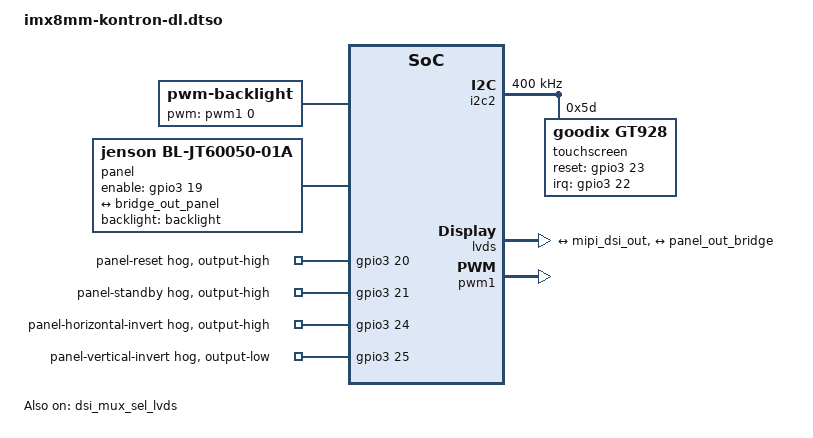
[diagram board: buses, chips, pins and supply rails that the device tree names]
// SPDX-License-Identifier: GPL-2.0
/*
 * Copyright (C) 2024 Kontron Electronics GmbH
 */

/dts-v1/;
/plugin/;

#include <dt-bindings/gpio/gpio.h>
#include "imx8mm-pinfunc.h"

&{/} {
	compatible = "kontron,imx8mm-bl", "kontron,imx8mm-sl", "fsl,imx8mm";

	backlight: backlight {
		compatible = "pwm-backlight";
		pwms = <&pwm1 0 50000 0>;
		brightness-levels = <0 100>;
		num-interpolated-steps = <100>;
		default-brightness-level = <100>;
	};

	panel {
		compatible = "jenson,bl-jt60050-01a", "panel-lvds";
		pinctrl-names = "default";
		pinctrl-0 = <&pinctrl_panel>;
		backlight = <&backlight>;
		data-mapping = "vesa-24";
		enable-gpios = <&gpio3 19 GPIO_ACTIVE_HIGH>;
		height-mm = <86>;
		width-mm = <154>;

		panel-timing {
			clock-frequency = <51200000>;
			hactive = <1024>;
			vactive = <600>;
			hsync-len = <1>;
			hfront-porch = <160>;
			hback-porch = <160>;
			vsync-len = <1>;
			vfront-porch = <12>;
			vback-porch = <23>;
		};

		port {
			panel_out_bridge: endpoint {
				remote-endpoint = <&bridge_out_panel>;
			};
		};
	};
};

&dsi_mux_sel_hdmi {
	status = "disabled";
};

&dsi_mux_sel_lvds {
	status = "okay";
};

&mipi_dsi_out {
	remote-endpoint = <&bridge_in_dsi_lvds>;
};

&gpio3 {
	pinctrl-names = "default";
	pinctrl-0 = <&pinctrl_gpio3>;

	panel-rst-hog {
		gpio-hog;
		gpios = <20 GPIO_ACTIVE_HIGH>;
		output-high;
		line-name = "panel-reset";
	};

	panel-stby-hog {
		gpio-hog;
		gpios = <21 GPIO_ACTIVE_HIGH>;
		output-high;
		line-name = "panel-standby";
	};

	panel-hinv-hog {
		gpio-hog;
		gpios = <24 GPIO_ACTIVE_HIGH>;
		output-high;
		line-name = "panel-horizontal-invert";
	};

	panel-vinv-hog {
		gpio-hog;
		gpios = <25 GPIO_ACTIVE_HIGH>;
		output-low;
		line-name = "panel-vertical-invert";
	};
};

&hdmi {
	status = "disabled";
};

&i2c2 {
	clock-frequency = <400000>;
	pinctrl-names = "default";
	pinctrl-0 = <&pinctrl_i2c2>;
	#address-cells = <1>;
	#size-cells = <0>;
	status = "okay";

	touchscreen@5d {
		compatible = "goodix,gt928";
		reg = <0x5d>;
		pinctrl-names = "default";
		pinctrl-0 = <&pinctrl_touch>;
		interrupt-parent = <&gpio3>;
		interrupts = <22 8>;
		reset-gpios = <&gpio3 23 0>;
		irq-gpios = <&gpio3 22 0>;
	};
};

&lvds {
	status = "okay";

	ports {
		#address-cells = <1>;
		#size-cells = <0>;

		port@0 {
			reg = <0>;

			bridge_in_dsi_lvds: endpoint {
				remote-endpoint = <&mipi_dsi_out>;
				data-lanes = <1 2>;
			};
		};

		port@2 {
			reg = <2>;

			bridge_out_panel: endpoint {
				remote-endpoint = <&panel_out_bridge>;
			};
		};
	};
};

&pwm1 {
	pinctrl-names = "default";
	pinctrl-0 = <&pinctrl_pwm1>;
	status = "okay";
};

&iomuxc {
	pinctrl_gpio3: gpio3grp {
		fsl,pins = <
			MX8MM_IOMUXC_SAI5_RXD3_GPIO3_IO24		0x19
			MX8MM_IOMUXC_SAI5_RXC_GPIO3_IO20		0x19
			MX8MM_IOMUXC_SAI5_RXD0_GPIO3_IO21		0x19
			MX8MM_IOMUXC_SAI5_MCLK_GPIO3_IO25		0x19
		>;
	};

	pinctrl_i2c2: i2c2grp {
		fsl,pins = <
			MX8MM_IOMUXC_I2C2_SCL_I2C2_SCL			0x40000083
			MX8MM_IOMUXC_I2C2_SDA_I2C2_SDA			0x40000083
		>;
	};

	pinctrl_panel: panelgrp {
		fsl,pins = <
			MX8MM_IOMUXC_SAI5_RXFS_GPIO3_IO19		0x19
		>;
	};

	pinctrl_pwm1: pwm1grp {
		fsl,pins = <
			MX8MM_IOMUXC_SPDIF_EXT_CLK_PWM1_OUT		0x6
		>;
	};

	pinctrl_touch: touchgrp {
		fsl,pins = <
			MX8MM_IOMUXC_SAI5_RXD1_GPIO3_IO22		0x19
			MX8MM_IOMUXC_SAI5_RXD2_GPIO3_IO23		0x19
		>;
	};
};
